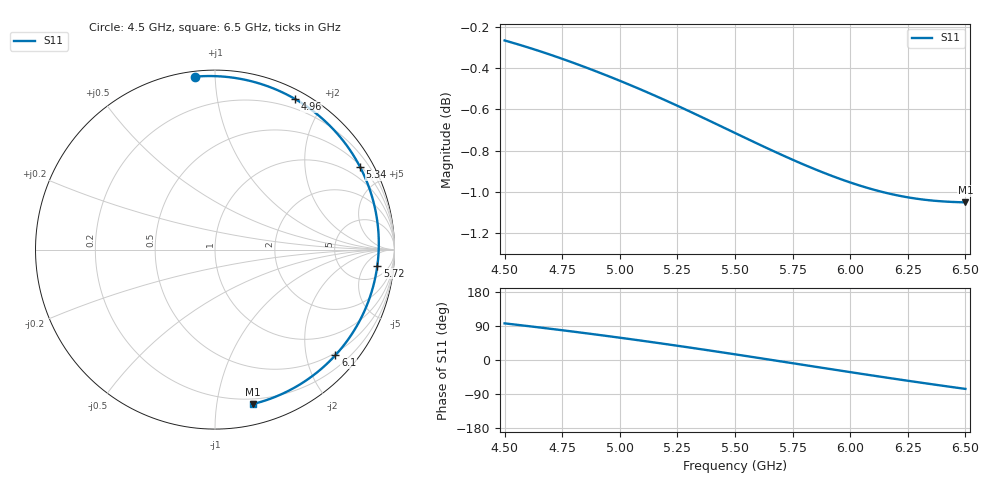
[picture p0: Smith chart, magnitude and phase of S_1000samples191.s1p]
! TOUCHSTONE file generated by CST MICROWAVE STUDIO
! Date and time: Thu Oct 27 07:57:21 2022
! Project name: L.cst
! Parameters = {Di=1.27; Epsilon_r=1.56; InnerDiameter=1.27; Length=2; Lf=10; Lg=60; OuterConductorThickness=0.2921; OuterDiameter=3.6; Wf=3; Wp=41.2; de=1.5; df=6.8; g=0.8; gx=4.695; gy=3.57472; h=2.34; hf=1.524; px=8.32949; py=8.87342; w=9.7; wx=3.63449; wy=5.2987}
! Header version: 2018
! Port assignment regex: !\s*Touchstone port\s*([0-9]+)\s*=\s*(CST MWS port|CST DS port)\s*([0-9]+|Zmin|Zmax)\s*\(\"(.*)\"\)(\s*mode\s*([0-9]+))?.*
! Touchstone port assignment:
! Touchstone port 1 = CST MWS port 1 ("")
# GHz S DB R 50
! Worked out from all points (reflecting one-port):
!   101 points, 4.5 GHz to 6.5 GHz, reference 50 ohm
!   lowest |S11| = -1.1 dB at 6.5 GHz (marker M1), VSWR 16.53, Z = 7.89 - j63.1 ohm
!   phase of S11 starts at 97 deg and turns -173 deg over the sweep
!   S11 on the Smith chart (normalised r, x): 4.5 GHz: 0.03, +0.89; 4.96 GHz: 0.10, +1.66; 5.34 GHz: 0.55, +3.71; 5.72 GHz: 10, -10; 6.1 GHz: 0.45, -2.59; 6.5 GHz: 0.16, -1.26
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4.5  -0.26 96.7
4.58  -0.29 91.0
4.64  -0.31 86.7
4.76  -0.36 77.8
4.86  -0.40 70.1
4.96  -0.44 62.1
5  -0.46 58.8
5.12  -0.52 48.8
5.18  -0.55 43.7
5.26  -0.59 36.7
5.34  -0.63 29.6
5.42  -0.67 22.3
5.5  -0.71 15.0
5.56  -0.75 9.4
5.62  -0.78 3.8
5.72  -0.83 -5.6
5.76  -0.85 -9.4
5.82  -0.88 -15.1
5.88  -0.91 -20.7
5.94  -0.93 -26.4
6  -0.96 -32.0
6.1  -0.99 -41.2
6.18  -1.01 -48.5
6.26  -1.03 -55.6
6.32  -1.04 -60.9
6.38  -1.05 -66.1
6.44  -1.05 -71.2
6.5  -1.05 -76.3
